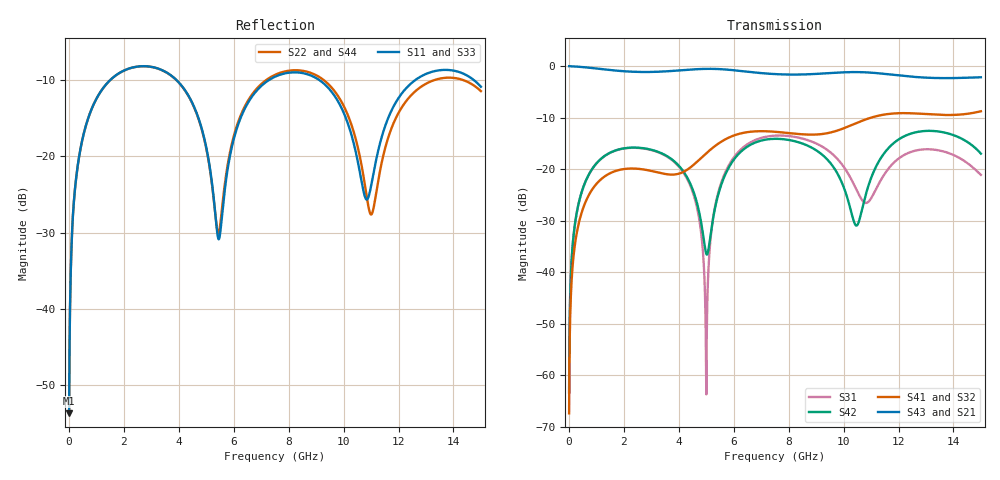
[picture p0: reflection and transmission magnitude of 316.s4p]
! Created with skrf 1.8.0 (http://scikit-rf.org).
# GHz S RI R 50.0
!freq ReS11 ImS11 ReS12 ImS12 ReS13 ImS13
! ReS14 ImS14
! ReS21 ImS21 ReS22 ImS22 ReS23 ImS23
! ReS24 ImS24
! ReS31 ImS31 ReS32 ImS32 ReS33 ImS33
! ReS34 ImS34
! ReS41 ImS41 ReS42 ImS42 ReS43 ImS43
! ReS44 ImS44
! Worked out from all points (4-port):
!   2499 points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, 5 MHz to 15 GHz, reference 50 ohm
!   strongest paths, dB at 5 MHz, 3.476 GHz, 7.19 GHz, 11.1 GHz, 15 GHz:
!     S43: 0.0, -1.0, -1.4, -1.3, -2.2
!     S21: 0.0, -1.0, -1.5, -1.3, -2.2
!     S41: -67.4, -20.9, -12.7, -9.9, -8.8
!     S32: -67.4, -20.9, -12.7, -9.9, -8.8
!     S42: -63.4, -17.2, -14.3, -20.5, -17.0
!     S31: -63.4, -17.3, -13.7, -24.7, -21.1
!   lowest |S11| = -53.7 dB at 5 MHz (marker M1), VSWR 1.00, Z = 50.2 + j0.125 ohm
!   |S11| at or under -10 dB: start of sweep to 1.495 GHz; 3.922 GHz to 7.272 GHz (3.35 GHz wide, 59.8 % of centre); 9.125 GHz to 12.6 GHz (3.478 GHz wide, 32 % of centre)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
0.005  0.00164 0.00125  0.9983 -0.0032  8.33e-05 0.000673  -8.08e-05 -0.000419
       0.9983 -0.0032  0.00164 0.00125  -8.08e-05 -0.000419  8.33e-05 0.000673
       8.33e-05 0.000673  -8.08e-05 -0.000419  0.00164 0.00125  0.9983 -0.0032
       -8.08e-05 -0.000419  8.33e-05 0.000673  0.9983 -0.0032  0.00164 0.00125
0.3126303  0.0242 0.082  0.967 -0.1991  0.0114 0.04  -0.00946 -0.0246
           0.967 -0.1991  0.0242 0.082  -0.00946 -0.0246  0.0114 0.0399
           0.0114 0.04  -0.00946 -0.0246  0.0242 0.082  0.967 -0.1991
           -0.00946 -0.0246  0.0114 0.0399  0.967 -0.1991  0.0242 0.082
1.569404  0.2739 0.1755  0.5401 -0.7346  0.1327 0.0632  -0.093 -0.00451
          0.5401 -0.7346  0.2735 0.1759  -0.093 -0.00453  0.1338 0.0617
          0.1327 0.0632  -0.093 -0.00453  0.2741 0.1756  0.54 -0.7346
          -0.093 -0.00451  0.1338 0.0617  0.54 -0.7346  0.2736 0.176
4.995832  0.0541 -0.1021  -0.8829 -0.3235  -0.000585 -0.000498  -0.0444 0.135
          -0.8829 -0.3235  0.056 -0.099  -0.0447 0.1349  -0.0141 -0.00563
          -0.000585 -0.000498  -0.0447 0.1349  0.0548 -0.104  -0.8825 -0.3237
          -0.0444 0.135  -0.0141 -0.00563  -0.8825 -0.3237  0.0569 -0.1009
5.80867  0.0507 0.0734  -0.9115 0.1364  0.0509 0.0947  0.044 0.1968
         -0.9115 0.1364  0.0547 0.0771  0.0436 0.1969  0.0319 0.0973
         0.0509 0.0947  0.0436 0.1969  0.0503 0.071  -0.9117 0.1361
         0.044 0.1968  0.0319 0.0973  -0.9117 0.1361  0.0543 0.0746
8.528554  0.3487 -0.0466  0.0221 0.829  0.1615 -0.1131  0.2025 -0.0793
          0.0221 0.829  0.36 -0.0558  0.2025 -0.0783  0.1632 -0.0659
          0.1615 -0.1131  0.2025 -0.0783  0.3471 -0.0478  0.0238 0.8295
          0.2025 -0.0793  0.1632 -0.0659  0.0238 0.8295  0.3581 -0.056
15  0.2463 -0.1466  -0.3529 -0.6941  -0.0161 -0.0865  -0.3128 0.187
    -0.3529 -0.6941  0.2527 -0.0906  -0.3139 0.1854  -0.00959 -0.1411
    -0.0161 -0.0865  -0.3139 0.1854  0.2465 -0.1438  -0.3603 -0.6905
    -0.3128 0.187  -0.00959 -0.1411  -0.3603 -0.6905  0.248 -0.0971
